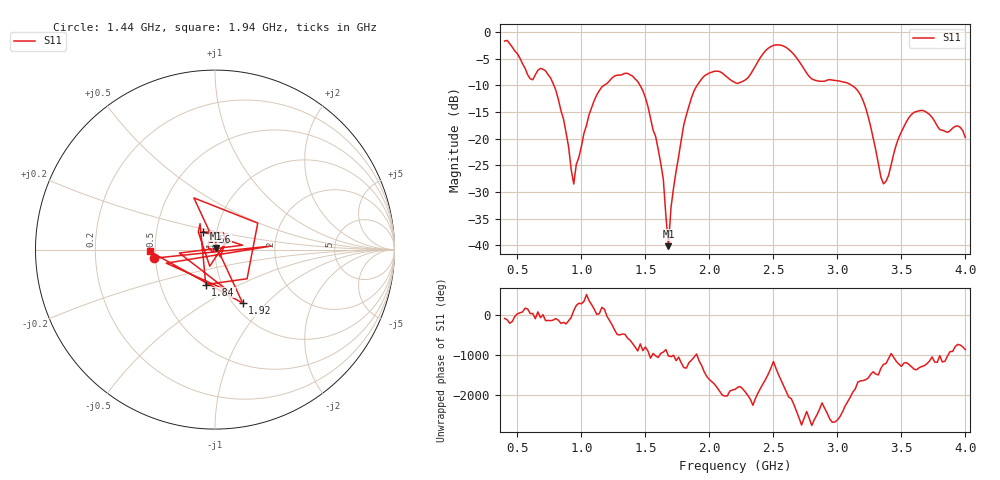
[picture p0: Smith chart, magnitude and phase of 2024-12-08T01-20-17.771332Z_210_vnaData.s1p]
!Created with skrf (http://scikit-rf.org).
# Hz S RI R 50.0
!freq ReS11 ImS11
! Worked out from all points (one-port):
!   181 points, 400 MHz to 4 GHz, reference 50 ohm
!   lowest |S11| = -40.2 dB at 1.68 GHz (marker M1), VSWR 1.02, Z = 50.4 + j0.884 ohm
!   |S11| at or under -10 dB: 784.5 MHz to 1.178 GHz (393.3 MHz wide, 40.1 % of centre); 1.458 GHz to 1.904 GHz (446.8 MHz wide, 26.6 % of centre); 3.11 GHz to end of sweep
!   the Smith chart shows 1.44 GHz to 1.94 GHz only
!   S11 on the Smith chart (normalised r, x): 1.44 GHz: 0.49, -0.05; 1.56 GHz: 0.85, +0.17; 1.84 GHz: 0.84, -0.34; 1.92 GHz: 1.10, -0.74; 1.94 GHz: 0.47, -0.01
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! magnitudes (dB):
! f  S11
! 400 MHz  -1.7
! 600 MHz  -8.8
! 720 MHz  -7.3
! 860 MHz  -16.3
! 940 MHz  -28.5
! 960 MHz  -24.8
! 1.1 GHz  -12.9
! 1.3 GHz  -8.1
! 1.44 GHz  -9.3
! 1.56 GHz  -18.4
! 1.64 GHz  -27.6
! 1.68 GHz  -40.2
! 1.7 GHz  -32.9
! 1.76 GHz  -23.3
! 1.84 GHz  -13.9
! 1.92 GHz  -9.5
! 1.94 GHz  -8.8
! 2.06 GHz  -7.4
! 2.2 GHz  -9.5
! 2.48 GHz  -2.7
! 2.66 GHz  -4.2
! 2.8 GHz  -8.8
! 3.1 GHz  -9.8
! 3.22 GHz  -14.2
! 3.36 GHz  -28.5
! 3.56 GHz  -16.0
! 3.68 GHz  -14.8
! 4 GHz  -19.8
